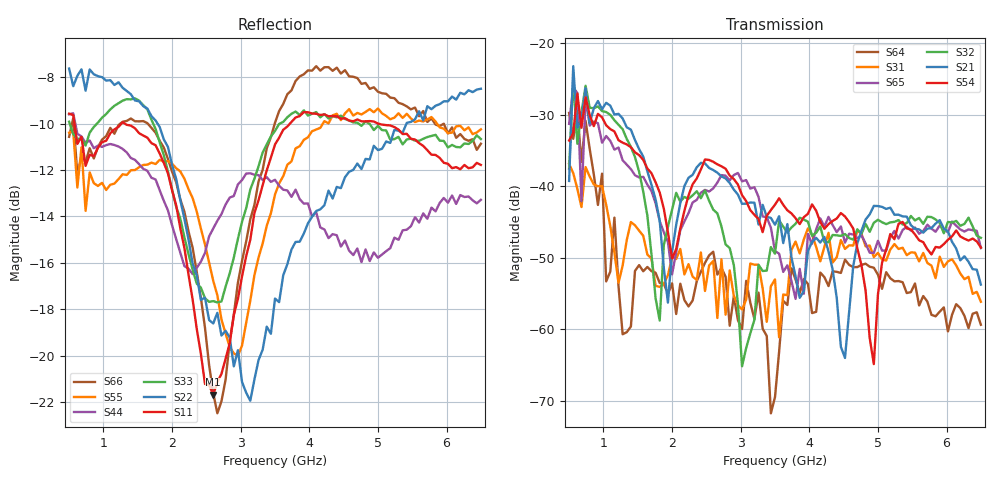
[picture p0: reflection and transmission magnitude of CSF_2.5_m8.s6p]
!Keysight Technologies,M9804A,MY58100912,A.14.10.03
!Date: Thursday, April 27, 2023 10:28:33
!Correction: S11(C  6-Port  )
!S12(C  6-Port  )
!S13(C  6-Port  )
!S14(C  6-Port  )
!S15(C  6-Port  )
!S16(C  6-Port  )
!S21(C  6-Port  )
!S22(C  6-Port  )
!S23(C  6-Port  )
!S24(C  6-Port  )
!S25(C  6-Port  )
!S26(C  6-Port  )
!S31(C  6-Port  )
!S32(C  6-Port  )
!S33(C  6-Port  )
!S34(C  6-Port  )
!S35(C  6-Port  )
!S36(C  6-Port  )
!S41(C  6-Port  )
!S42(C  6-Port  )
!S43(C  6-Port  )
!S44(C  6-Port  )
!S45(C  6-Port  )
!S46(C  6-Port  )
!S51(C  6-Port  )
!S52(C  6-Port  )
!S53(C  6-Port  )
!S54(C  6-Port  )
!S55(C  6-Port  )
!S56(C  6-Port  )
!S61(C  6-Port  )
!S62(C  6-Port  )
!S63(C  6-Port  )
!S64(C  6-Port  )
!S65(C  6-Port  )
!S66(C  6-Port  )
!S6P File: Measurement: :
# Hz S  RI  R 50
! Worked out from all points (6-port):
!   101 points, 500 MHz to 6.5 GHz, reference 50 ohm
!   strongest paths, dB at 500 MHz, 2 GHz, 3.5 GHz, 5 GHz, 6.5 GHz:
!     S54: -33.6, -50.1, -42.6, -55.1, -48.6
!     S21: -39.3, -49.2, -45.4, -42.8, -53.8
!     S32: -37.6, -43.3, -49.4, -44.7, -47.2
!     S65: -31.3, -52.3, -49.1, -47.6, -48.7
!     S31: -36.9, -49.9, -53.0, -49.3, -56.2
!     S64: -29.7, -53.6, -69.5, -52.4, -59.4
!   lowest |S11| = -21.7 dB at 2.6 GHz (marker M1), VSWR 1.18, Z = 42.7 + j2.1 ohm
!   |S11| at or under -10 dB: 578.1 MHz to 1.26 GHz (682 MHz wide, 74.2 % of centre); 1.315 GHz to 3.716 GHz (2.4 GHz wide, 95.4 % of centre); 5.013 GHz to end of sweep
